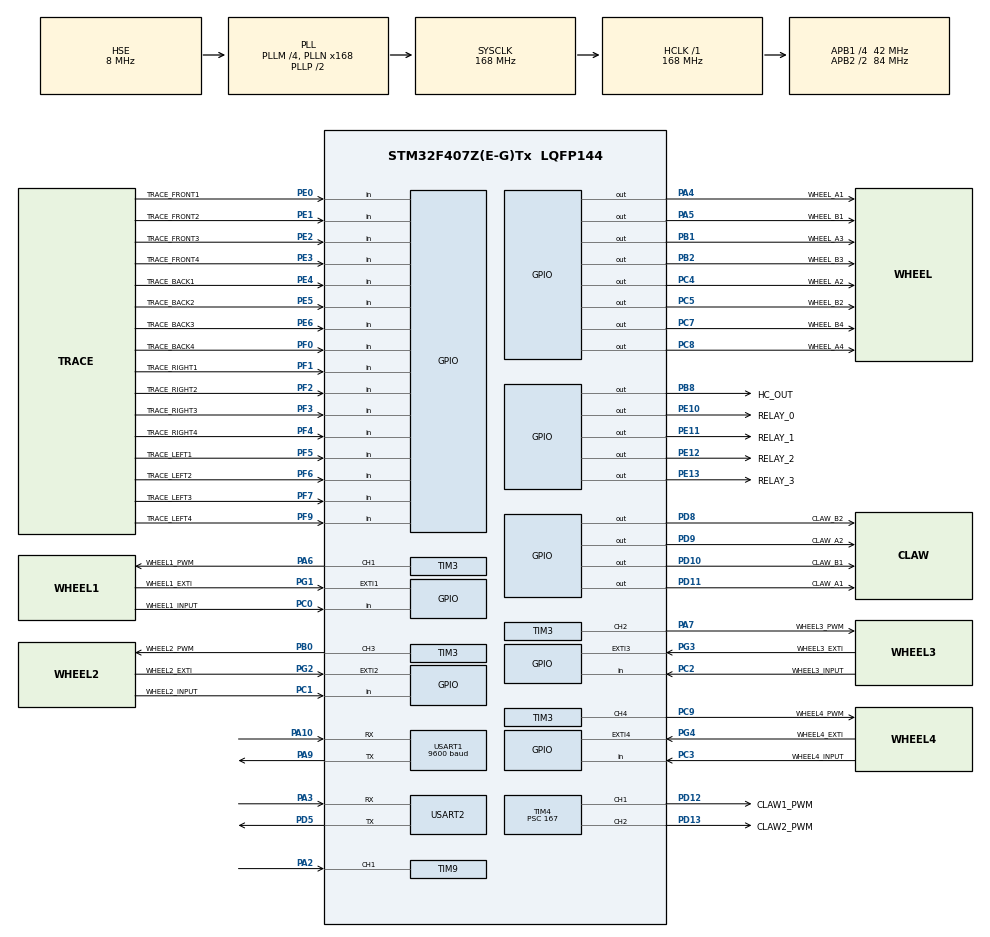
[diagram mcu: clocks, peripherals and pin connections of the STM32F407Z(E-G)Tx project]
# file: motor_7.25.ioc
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Dma.Request0=USART1_RX
Dma.Request1=USART1_TX
Dma.USART1_RX.0.Direction=DMA_PERIPH_TO_MEMORY
Dma.USART1_RX.0.FIFOMode=DMA_FIFOMODE_ENABLE
Dma.USART1_RX.0.FIFOThreshold=DMA_FIFO_THRESHOLD_FULL
Dma.USART1_RX.0.Instance=DMA2_Stream2
Dma.USART1_RX.0.MemBurst=DMA_MBURST_SINGLE
Dma.USART1_RX.0.MemDataAlignment=DMA_MDATAALIGN_BYTE
Dma.USART1_RX.0.MemInc=DMA_MINC_ENABLE
Dma.USART1_RX.0.Mode=DMA_NORMAL
Dma.USART1_RX.0.PeriphBurst=DMA_PBURST_SINGLE
Dma.USART1_RX.0.PeriphDataAlignment=DMA_PDATAALIGN_BYTE
Dma.USART1_RX.0.PeriphInc=DMA_PINC_DISABLE
Dma.USART1_RX.0.Priority=DMA_PRIORITY_LOW
Dma.USART1_TX.1.Direction=DMA_MEMORY_TO_PERIPH
Dma.USART1_TX.1.FIFOMode=DMA_FIFOMODE_ENABLE
Dma.USART1_TX.1.FIFOThreshold=DMA_FIFO_THRESHOLD_FULL
Dma.USART1_TX.1.Instance=DMA2_Stream7
Dma.USART1_TX.1.MemBurst=DMA_MBURST_SINGLE
Dma.USART1_TX.1.MemDataAlignment=DMA_MDATAALIGN_BYTE
Dma.USART1_TX.1.MemInc=DMA_MINC_ENABLE
Dma.USART1_TX.1.Mode=DMA_NORMAL
Dma.USART1_TX.1.PeriphBurst=DMA_PBURST_SINGLE
Dma.USART1_TX.1.PeriphDataAlignment=DMA_PDATAALIGN_BYTE
Dma.USART1_TX.1.PeriphInc=DMA_PINC_DISABLE
Dma.USART1_TX.1.Priority=DMA_PRIORITY_LOW
Mcu.Family=STM32F4
Mcu.Name=STM32F407Z(E-G)Tx
Mcu.Package=LQFP144
NVIC.DMA2_Stream2_IRQn=true\:0\:0\:false\:false\:true\:false\:true\:true
NVIC.DMA2_Stream7_IRQn=true\:0\:0\:false\:false\:true\:false\:true\:true
NVIC.PriorityGroup=NVIC_PRIORITYGROUP_4
NVIC.TIM1_BRK_TIM9_IRQn=true\:0\:0\:false\:false\:true\:true\:true\:true
NVIC.USART1_IRQn=true\:0\:0\:false\:false\:true\:true\:true\:true
PA10.Mode=Asynchronous
PA10.Signal=USART1_RX
PA13.Mode=Serial_Wire
PA13.Signal=SYS_JTMS-SWDIO
PA14.Mode=Serial_Wire
PA14.Signal=SYS_JTCK-SWCLK
PA2.Signal=S_TIM9_CH1
PA3.Mode=Asynchronous
PA3.Signal=USART2_RX
PA4.GPIO_Label=WHEEL_A1
PA4.Signal=GPIO_Output
PA5.GPIO_Label=WHEEL_B1
PA5.Signal=GPIO_Output
PA6.GPIO_Label=WHEEL1_PWM
PA6.Signal=S_TIM3_CH1
PA7.GPIO_Label=WHEEL3_PWM
PA7.Signal=S_TIM3_CH2
PA9.Mode=Asynchronous
PA9.Signal=USART1_TX
PB0.GPIO_Label=WHEEL2_PWM
PB0.Signal=S_TIM3_CH3
PB1.GPIO_Label=WHEEL_A3
PB1.Signal=GPIO_Output
PB2.GPIO_Label=WHEEL_B3
PB2.Signal=GPIO_Output
PB8.GPIO_Label=HC_OUT
PB8.Signal=GPIO_Output
PC0.GPIO_Label=WHEEL1_INPUT
PC0.Signal=GPIO_Input
PC1.GPIO_Label=WHEEL2_INPUT
PC1.Signal=GPIO_Input
PC2.GPIO_Label=WHEEL3_INPUT
PC2.Signal=GPIO_Input
PC3.GPIO_Label=WHEEL4_INPUT
PC3.Signal=GPIO_Input
PC4.GPIO_Label=WHEEL_A2
PC4.Signal=GPIO_Output
PC5.GPIO_Label=WHEEL_B2
PC5.Signal=GPIO_Output
PC7.GPIO_Label=WHEEL_B4
PC7.Signal=GPIO_Output
PC8.GPIO_Label=WHEEL_A4
PC8.Signal=GPIO_Output
PC9.GPIO_Label=WHEEL4_PWM
PC9.Signal=S_TIM3_CH4
PD10.GPIO_Label=CLAW_B1
PD10.Signal=GPIO_Output
PD11.GPIO_Label=CLAW_A1
PD11.Signal=GPIO_Output
PD12.GPIO_Label=CLAW1_PWM
PD12.Signal=S_TIM4_CH1
PD13.GPIO_Label=CLAW2_PWM
PD13.Signal=S_TIM4_CH2
PD5.Mode=Asynchronous
PD5.Signal=USART2_TX
PD8.GPIO_Label=CLAW_B2
PD8.Signal=GPIO_Output
PD9.GPIO_Label=CLAW_A2
PD9.Signal=GPIO_Output
PE0.GPIO_Label=TRACE_FRONT1
PE0.Signal=GPIO_Input
PE1.GPIO_Label=TRACE_FRONT2
PE1.Signal=GPIO_Input
PE10.GPIO_Label=RELAY_0
PE10.Signal=GPIO_Output
PE11.GPIO_Label=RELAY_1
PE11.Signal=GPIO_Output
PE12.GPIO_Label=RELAY_2
PE12.Signal=GPIO_Output
PE13.GPIO_Label=RELAY_3
PE13.Signal=GPIO_Output
PE2.GPIO_Label=TRACE_FRONT3
PE2.Signal=GPIO_Input
PE3.GPIO_Label=TRACE_FRONT4
PE3.Signal=GPIO_Input
PE4.GPIO_Label=TRACE_BACK1
PE4.Signal=GPIO_Input
PE5.GPIO_Label=TRACE_BACK2
PE5.Signal=GPIO_Input
PE6.GPIO_Label=TRACE_BACK3
PE6.Signal=GPIO_Input
PF0.GPIO_Label=TRACE_BACK4
PF0.Signal=GPIO_Input
PF1.GPIO_Label=TRACE_RIGHT1
PF1.Signal=GPIO_Input
PF2.GPIO_Label=TRACE_RIGHT2
PF2.Signal=GPIO_Input
PF3.GPIO_Label=TRACE_RIGHT3
PF3.Signal=GPIO_Input
PF4.GPIO_Label=TRACE_RIGHT4
PF4.Signal=GPIO_Input
PF5.GPIO_Label=TRACE_LEFT1
PF5.Signal=GPIO_Input
PF6.GPIO_Label=TRACE_LEFT2
PF6.Signal=GPIO_Input
PF7.GPIO_Label=TRACE_LEFT3
PF7.Signal=GPIO_Input
PF9.GPIO_Label=TRACE_LEFT4
PF9.Signal=GPIO_Input
PG1.GPIO_Label=WHEEL1_EXTI
PG1.Signal=GPXTI1
PG2.GPIO_Label=WHEEL2_EXTI
PG2.Signal=GPXTI2
PG3.GPIO_Label=WHEEL3_EXTI
PG3.Signal=GPXTI3
PG4.GPIO_Label=WHEEL4_EXTI
PG4.Signal=GPXTI4
PH0-OSC_IN.Mode=HSE-External-Oscillator
PH0-OSC_IN.Signal=RCC_OSC_IN
PH1-OSC_OUT.Mode=HSE-External-Oscillator
PH1-OSC_OUT.Signal=RCC_OSC_OUT
ProjectManager.HeapSize=0x200
ProjectManager.StackSize=0x400
ProjectManager.TargetToolchain=MDK-ARM V5.32
RCC.48MHZClocksFreq_Value=84000000
RCC.AHBFreq_Value=168000000
RCC.APB1CLKDivider=RCC_HCLK_DIV4
RCC.APB1Freq_Value=42000000
RCC.APB1TimFreq_Value=84000000
RCC.APB2CLKDivider=RCC_HCLK_DIV2
RCC.APB2Freq_Value=84000000
RCC.APB2TimFreq_Value=168000000
RCC.CortexFreq_Value=168000000
RCC.HCLKFreq_Value=168000000
RCC.HSE_VALUE=8000000
RCC.HSI_VALUE=16000000
RCC.LSE_VALUE=32768
RCC.PLLM=4
RCC.PLLN=168
RCC.PLLSourceVirtual=RCC_PLLSOURCE_HSE
RCC.SYSCLKFreq_VALUE=168000000
RCC.SYSCLKSource=RCC_SYSCLKSOURCE_PLLCLK
RCC.VCOOutputFreq_Value=336000000
SH.S_TIM3_CH1.0=TIM3_CH1,PWM Generation1 CH1
SH.S_TIM3_CH2.0=TIM3_CH2,PWM Generation2 CH2
SH.S_TIM3_CH3.0=TIM3_CH3,PWM Generation3 CH3
SH.S_TIM3_CH4.0=TIM3_CH4,PWM Generation4 CH4
SH.S_TIM4_CH1.0=TIM4_CH1,PWM Generation1 CH1
SH.S_TIM4_CH2.0=TIM4_CH2,PWM Generation2 CH2
SH.S_TIM9_CH1.0=TIM9_CH1,Input_Capture1_from_TI1
TIM3.Channel-PWM\ Generation1\ CH1=TIM_CHANNEL_1
TIM3.Channel-PWM\ Generation2\ CH2=TIM_CHANNEL_2
TIM3.Channel-PWM\ Generation3\ CH3=TIM_CHANNEL_3
TIM3.Channel-PWM\ Generation4\ CH4=TIM_CHANNEL_4
TIM3.Period=36257
TIM3.Prescaler=0
TIM4.Channel-PWM\ Generation1\ CH1=TIM_CHANNEL_1
TIM4.Channel-PWM\ Generation2\ CH2=TIM_CHANNEL_2
TIM4.Period=2000-1
TIM4.Prescaler=167
TIM5.Period=32767
TIM7.Period=1
TIM7.Prescaler=83
TIM9.AutoReloadPreload=TIM_AUTORELOAD_PRELOAD_ENABLE
TIM9.Channel-Input_Capture1_from_TI1=TIM_CHANNEL_1
TIM9.Prescaler=83
USART1.BaudRate=9600
USART1.VirtualMode=VM_ASYNC
USART2.VirtualMode=VM_ASYNC
VP_TIM3_VS_ClockSourceINT.Mode=Internal
VP_TIM4_VS_ClockSourceINT.Mode=Internal
VP_TIM5_VS_ClockSourceINT.Mode=Internal
VP_TIM7_VS_ClockSourceINT.Mode=Enable_Timer
VP_TIM9_VS_ClockSourceINT.Mode=Internal
board=custom

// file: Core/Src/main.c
/* USER CODE BEGIN Header */
/**
  ******************************************************************************
  * @file           : main.c
  * @brief          : Main program body
  ******************************************************************************
  * @attention
  *
  * <h2><center>&copy; Copyright (c) 2022 STMicroelectronics.
  * All rights reserved.</center></h2>
  *
  * This software component is licensed by ST under BSD 3-Clause license,
  * the "License"; You may not use this file except in compliance with the
  * License. You may obtain a copy of the License at:
  *                        opensource.org/licenses/BSD-3-Clause
  *
  ******************************************************************************
  */
/* USER CODE END Header */
#include "main.h"
#include "dma.h"
#include "tim.h"
#include "usart.h"
#include "gpio.h"

/* USER CODE BEGIN Includes */

#include "DR16.hpp"
#include "Motor.hpp"
#include "Chassis.hpp"
#include "Claw.hpp"
#include "Relay.hpp"
#include "trace.h"
/* USER CODE END Includes */

/* USER CODE BEGIN PV */
Class_Chassis Chassis;
Class_Claw Claw;
Class_Relay Relay[4]; //四个继电器
/**
 * @param Relay[0] 控制发射机构电磁阀
 * @param Relay[1] 控制真空泵
 * @param Relay[2] 控制靠前吸盘组对应电磁阀
 * @param Relay[3] 控制靠后吸盘组对应电磁阀
 */
/* USER CODE END PV */

void SystemClock_Config(void);

/* USER CODE BEGIN 0 */

//超声波测试程序定义：
uint32_t capture_Buf[2] = {0};   //存放计数值
uint8_t capture_Cnt = 0;    //状态标志位
uint32_t high_time;   //高电平时间
uint32_t Distance;
uint32_t Distance_Calculate(uint32_t count)
{
		uint32_t Distance = 0;
		Distance = (uint32_t)(((float)count / 58) * 100);
		return Distance;
}
void HCSR04_Init_Start(void)
{
	HAL_GPIO_WritePin(GPIOB,GPIO_PIN_8,GPIO_PIN_RESET);
	HAL_GPIO_WritePin(GPIOB,GPIO_PIN_8,GPIO_PIN_SET);
	delay_us(10);
	HAL_GPIO_WritePin(GPIOB,GPIO_PIN_8,GPIO_PIN_RESET);
}

/* USER CODE END 0 */

int main(void)

{
  /* USER CODE BEGIN 1 */
uint8_t trbuf[16]={2,1,1,2,184,11,0,0,0,0,0,0,0,0,3,52};
extern int colorflag;
  /* USER CODE END 1 */

  /* MCU Configuration--------------------------------------------------------*/

  /* Reset of all peripherals, Initializes the Flash interface and the Systick. */
  HAL_Init();

  /* Configure the system clock */
  SystemClock_Config();

  /* Initialize all configured peripherals */
  MX_GPIO_Init();
  MX_DMA_Init();
  MX_TIM3_Init();
  MX_TIM4_Init();
  MX_TIM5_Init();
  MX_TIM7_Init();
  MX_TIM9_Init();
  MX_USART2_UART_Init();
  MX_USART1_UART_Init();
  /* USER CODE BEGIN 2 */
  HAL_TIM_IC_Start_IT(&htim9, TIM_CHANNEL_1);

  //test_chassis:
  //底盘初始化，注意参数，详情见Chassis.cpp中的Init函数

  //, htim5);

  //Chassis.Set_Control_Method(Control_Method_OPENLOOP);

  //使能计算时钟
  //HAL_TIM_Base_Start_IT(&CHASSIS_MOTOR_CALCULATE_TIM);

  //test_motor:
  /*
  Class_Motor motor1;
  Class_Motor motor2;
  Class_Motor motor3;
  Class_Motor motor4;
  */
extern int front[5];
extern int back[5];
extern int right[5];
extern int left[5];
int num1,num2,num3;
struct SpeedTypeDef v_front={0, 10000, 0};//向前
struct SpeedTypeDef v_frontlow={0, 4000, 0};//向前
struct SpeedTypeDef v_frontlowlow={0, 3000, 0};//向前
struct SpeedTypeDef v_back={0, -10000, 0};//向后
struct SpeedTypeDef v_backlow={0, -4000, 0};//向后
struct SpeedTypeDef v_backfast={0, -30000, 0};//向后
struct SpeedTypeDef v_left={10000, 0 ,0};//向左
struct SpeedTypeDef v_leftlow={4000, 0 ,0};//向左
struct SpeedTypeDef v_leftlowlow={2000, 0, 0};//向左
struct SpeedTypeDef v_right={-10000, 0 ,0};//向右
struct SpeedTypeDef v_rightlow={-4000, 0 ,0};//向右
struct SpeedTypeDef v_rightlowlow={-2000, 0, 0};//向右
struct SpeedTypeDef v_rotate={0, 0, 10000};//正转
struct SpeedTypeDef v_crotate={0, 0, -10000};//逆转
struct SpeedTypeDef v_leftass={7000, 7000, 7000};//屁股向左
struct SpeedTypeDef v_rightass={7000, 7000, -7000};//屁股向右
struct SpeedTypeDef v_leftfront={10000, 10000, 0};//左前
struct SpeedTypeDef v_rightfront={-10000, 10000, 0};//右前
struct SpeedTypeDef v_leftback={10000, -10000, 0};//左后
struct SpeedTypeDef v_rightback={-10000, -10000, 0};//右后
struct SpeedTypeDef v_stop={0, 0 ,0};//停下
struct SpeedTypeDef v_rotatelow={0, 0, 4000};//正转
struct SpeedTypeDef v_slowfront={0, 3000, 0};//慢速向前

  struct SpeedTypeDef claw_up_rotate=  //机械臂抬升
   {
    0,0,-100
   };
     struct SpeedTypeDef claw_upup_rotate=  //机械臂抬升(快一点
   {
    0,0,-200
   };
   struct SpeedTypeDef claw_down_rotate=  //机械臂放下
   {
    0,0,50
   };
    struct SpeedTypeDef claw_downdown_rotate=  //机械臂放下(快一点
   {
    0,0,100
   };

   Chassis.Init();
   Claw.Init();
   Relay[0].Init(RELAY_0_GPIO_Port,RELAY_0_Pin);
   Relay[1].Init(RELAY_1_GPIO_Port,RELAY_1_Pin);
   Relay[2].Init(RELAY_2_GPIO_Port,RELAY_2_Pin);
   Relay[3].Init(RELAY_3_GPIO_Port,RELAY_3_Pin);
 /*test_motor:
  motor1.Init(htim3, TIM_CHANNEL_1, WHEEL_A1_Pin, WHEEL_A1_GPIO_Port, WHEEL_B1_Pin, WHEEL_B1_GPIO_Port);
  motor2.Init(htim3, TIM_CHANNEL_2, WHEEL_A2_Pin, WHEEL_A2_GPIO_Port, WHEEL_B2_Pin, WHEEL_B2_GPIO_Port);
  motor3.Init(htim3, TIM_CHANNEL_3, WHEEL_A3_Pin, WHEEL_A3_GPIO_Port, WHEEL_B3_Pin, WHEEL_B3_GPIO_Port);
  motor4.Init(htim3, TIM_CHANNEL_4, WHEEL_A4_Pin, WHEEL_A4_GPIO_Port, WHEEL_B4_Pin, WHEEL_B4_GPIO_Port);
*/

/*冰壶机器人算法逻辑框架---------------------*/
	int front_sum,back_sum,left_sum,right_sum;
    //穿越巡线区
	 HAL_Delay(10000);
   modified_trace_pre(19000);
	//到达第一个三岔路口
	while(!(front[2]==1 && front[3]==1)){
		left_track();
	}

	Chassis.Changhu_velocity(v_stop);
	HAL_Delay(1000);

	//卡到位置再扫描
  HAL_UART_Transmit_DMA(&huart1,trbuf,16);
	Chassis.Changhu_velocity(v_frontlow);
	HAL_Delay(3500);
	Chassis.Changhu_velocity(v_frontlow);
	HAL_Delay(1000);
/*  低难度第一个位置：目前在第一个三岔路口*/
	//这里要加一个判断//如果第一个是

 //如果第一个不是
	if(uart1_receive_buffer[1]=='0')
{
	//后退
	Chassis.Changhu_velocity(v_back);
	HAL_Delay(400);				//这个参数可能要改，看看十字校准的效果
	Chassis.Changhu_velocity(v_stop);

	//十字校准
	read_redsense();
	while(!(left[2]==1 && left[3]==1)){
		Chassis.Changhu_velocity(v_backlow);
		HAL_Delay(20);
		read_redsense();
	}

	Chassis.Changhu_velocity(v_left);
 	HAL_Delay(1000);
	Chassis.Changhu_velocity(v_stop);
	HAL_Delay(500);
	read_redsense();
	while(!(front[2]==1 && front[3]==1)){
		left_track();
	}
	Chassis.Changhu_velocity(v_stop);
	HAL_Delay(2500);

	Chassis.Changhu_velocity(v_frontlow);
	HAL_Delay(3500);
}

	//前进固定距离
	Chassis.Changhu_velocity(v_backlow);
	HAL_Delay(900);/////////////////////////////////////////这个地方需要调试，先卡住然后往后退

	Chassis.Changhu_velocity(v_stop);
	//放下夹子
	Claw.Changhu_velocity(claw_downdown_rotate);
	HAL_Delay(4500);///////////////////////////////////////
	Claw.Changhu_velocity(v_stop);
	//吸起来
	Relay[1].set_Relay_output_situation(1);
	Relay[3].set_Relay_output_situation(1);
	Relay[2].set_Relay_output_situation(0);  //吸起
	HAL_Delay(5000);
	//上升
	Claw.Changhu_velocity(claw_upup_rotate);
	HAL_Delay(3600);
	Claw.Changhu_velocity(v_stop);//机械臂上升
	//往后退，时间可能要调整
	Chassis.Changhu_velocity(v_back);//与向前进保持一样的距离，虽然可能重一点，在此之后十字校准
	HAL_Delay(500);
	Chassis.Changhu_velocity(v_stop);

	read_redsense();
	while(!(left[2]==1 && left[3]==1)){
		Chassis.Changhu_velocity(v_backlow);
		HAL_Delay(20);
		read_redsense();
	}

	//动两格就位
	read_redsense();
	while(!(back[2]==1 && back[3]==1)){
		left_track();
	}
	Chassis.Changhu_velocity(v_stop);
	HAL_Delay(500);

	//十字校准
//	trace_check_crossroad();

    //推出冰壶

	Claw.Changhu_velocity(claw_down_rotate);
	HAL_Delay(8000);
	Claw.Changhu_velocity(v_stop);//机械臂下降

	Relay[2].set_Relay_output_situation(1);//放下
	Relay[1].set_Relay_output_situation(0);

	Claw.Changhu_velocity(claw_up_rotate);
	HAL_Delay(3000);
	Claw.Changhu_velocity(v_stop);//机械臂上升

	Relay[0].set_Relay_output_situation(0);
	HAL_Delay(1500);//不知道在干什么

	//前进

	Chassis.Changhu_velocity(v_frontlowlow);
	HAL_Delay(4700);//////////////////////////////
	Chassis.Changhu_velocity(v_stop);
	HAL_Delay(2000);
	/*Chassis.Changhu_velocity(v_rightlow);
	HAL_Delay(150);//////////////////////////////
	Chassis.Changhu_velocity(v_stop);
	HAL_Delay(20);
	/////////////////////////////////////////////////////////////////////////////
	Chassis.Changhu_velocity(v_leftlowlow);

	HAL_Delay(290);//////////////////////////////00000000000000000000000000000000000000000000000000000000000000000000000000000000000000000

	Chassis.Changhu_velocity(v_stop);
	HAL_Delay(500);
	*/
	Relay[0].set_Relay_output_situation(1); //此时常开（开路即断路）端闭合，电磁阀两端出现电势差，气缸将冰壶推出
	HAL_Delay(1500);

	Relay[0].set_Relay_output_situation(0);//气缸收回
	HAL_Delay(1500);

	//现在推完了

	Chassis.Changhu_velocity(v_back);
	HAL_Delay(400);				//这个参数可能要改，看看十字校准的效果
	Chassis.Changhu_velocity(v_stop);

	//十字校准
	read_redsense();
	while(!(right[2]==1 && right[3]==1)){
		Chassis.Changhu_velocity(v_backlow);
		HAL_Delay(20);
		read_redsense();
	}

	Chassis.Changhu_velocity(v_left);
	HAL_Delay(300);
  read_redsense();
	while(!(back[2]==1 && back[3]==1)){
		left_track();
	}
	Chassis.Changhu_velocity(v_stop);
	HAL_Delay(1000);

	//现在开始拿第二个低难度壶
	//前进固定距离
	Chassis.Changhu_velocity(v_frontlow);
	HAL_Delay(3500);
	Chassis.Changhu_velocity(v_stop);
	HAL_Delay(2000);
	Chassis.Changhu_velocity(v_backlow);
	HAL_Delay(900);/////////////////////////////////////////这个地方需要调试，先卡住然后往后退
	Chassis.Changhu_velocity(v_stop);
	HAL_Delay(2000);
	//放下夹子
	Claw.Changhu_velocity(claw_downdown_rotate);
	HAL_Delay(4500);/////////////////////////////////////
	Claw.Changhu_velocity(v_stop);
	//吸起来
	Relay[1].set_Relay_output_situation(1);
	Relay[3].set_Relay_output_situation(1);
	Relay[2].set_Relay_output_situation(0);  //吸起
	HAL_Delay(5000);
	//上升
	Claw.Changhu_velocity(claw_upup_rotate);
	HAL_Delay(3000);
	Claw.Changhu_velocity(v_stop);//机械臂上升
	//往后退，时间可能要调整
	Chassis.Changhu_velocity(v_back);//与向前进保持一样的距离，虽然可能重一点，在此之后十字校准
	HAL_Delay(400);
	Chassis.Changhu_velocity(v_stop);

	//十字校准
	read_redsense();
	while(!(left[2]==1 && left[3]==1)){
		Chassis.Changhu_velocity(v_backlow);
		HAL_Delay(20);
		read_redsense();
	}

	Chassis.Changhu_velocity(v_left);
	HAL_Delay(300);
	//动两格就位
	Chassis.Changhu_velocity(v_stop);
	HAL_Delay(500);
	read_redsense();
	while(!(back[2]==1 && back[3]==1)){
		Chassis.Changhu_velocity(v_leftlow);
		HAL_Delay(10);
		read_redsense();
	}
	Chassis.Changhu_velocity(v_left);
	HAL_Delay(20);
	Chassis.Changhu_velocity(v_stop);
	HAL_Delay(1000);

	//十字校准
//	trace_check_crossroad();

    //推出冰壶

	Claw.Changhu_velocity(claw_down_rotate);
	HAL_Delay(8000);
	Claw.Changhu_velocity(v_stop);//机械臂下降

	Relay[2].set_Relay_output_situation(1);//放下
	Relay[1].set_Relay_output_situation(0);

	Claw.Changhu_velocity(claw_up_rotate);
	HAL_Delay(3000);
	Claw.Changhu_velocity(v_stop);//机械臂上升

	Relay[0].set_Relay_output_situation(0);
	HAL_Delay(1500);//不知道在干什么

	//前进

	Chassis.Changhu_velocity(v_frontlowlow);
	HAL_Delay(4700);
	Chassis.Changhu_velocity(v_stop);
	HAL_Delay(2000);

	/////////////////////////////////////////////////////////////////////////////////////////////////////////////////////////////////////////
	Chassis.Changhu_velocity(v_rightlowlow);
	HAL_Delay(290);//////////////////////////////
	Chassis.Changhu_velocity(v_stop);
	HAL_Delay(500);

	Relay[0].set_Relay_output_situation(1); //此时常开（开路即断路）端闭合，电磁阀两端出现电势差，气缸将冰壶推出
	HAL_Delay(1500);

	Relay[0].set_Relay_output_situation(0);//气缸收回
	HAL_Delay(1500);

	//现在第二个也推完了，定位到高难度初始位置
	Chassis.Changhu_velocity(v_back);
	HAL_Delay(800);				//这个参数可能要改，看看十字校准的效果
	Chassis.Changhu_velocity(v_stop);

	//十字校准
	read_redsense();
	while(!(left[2]==1 && left[3]==1)){
		Chassis.Changhu_velocity(v_backlow);
		HAL_Delay(20);
		read_redsense();
	}

	Chassis.Changhu_velocity(v_rotate);//旋转180度
	HAL_Delay(5200);//先旋转个大概然后再慢慢对上
	//trace_xuanzhuan();

	//十字定位
	trace_check_crossroad();
	Claw.Changhu_velocity(claw_up_rotate);
	HAL_Delay(1500);
	 HAL_UART_Transmit_DMA(&huart1,trbuf,16);
	Chassis.Changhu_velocity(v_front);
	HAL_Delay(1000);
	Chassis.Changhu_velocity(v_slowfront);
	HAL_Delay(2000);
//！！注意，这是高难度区第一次用视觉，在此判断，如果是己方的话
	if(uart1_receive_buffer[1]=='1')
{
	/*Chassis.Changhu_velocity(v_slowfront);
	HAL_Delay(8000);
	Chassis.Changhu_velocity(v_stop);						//往高难度取壶区走
	*/
	Claw.Changhu_velocity(claw_downdown_rotate);
	HAL_Delay(6000);
	Claw.Changhu_velocity(v_stop);//机械臂下降

	Relay[1].set_Relay_output_situation(1);
	Relay[2].set_Relay_output_situation(1);
	Relay[3].set_Relay_output_situation(0);  //吸起
	HAL_Delay(5000);

	Claw.Changhu_velocity(claw_upup_rotate);
	HAL_Delay(2000);
	Claw.Changhu_velocity(v_stop);//机械臂上升

	Chassis.Changhu_velocity(v_back);
	HAL_Delay(1000);
	Chassis.Changhu_velocity(v_stop);					//往后走点，这个还没测/////////////////////////////////////////////////0000000000000000000000000000000000000

	Chassis.Changhu_velocity(v_rotate);//旋转180度
	HAL_Delay(5400);
	trace_xuanzhuan();

	//十字定位
	trace_check_crossroad();

	Chassis.Changhu_velocity(v_front);
	HAL_Delay(1500);
	Chassis.Changhu_velocity(v_stop);

	Claw.Changhu_velocity(claw_down_rotate);
	HAL_Delay(7000);
	Claw.Changhu_velocity(v_stop);//机械臂下降

	Relay[3].set_Relay_output_situation(1);//放下
	Relay[1].set_Relay_output_situation(0);

	Claw.Changhu_velocity(claw_up_rotate);
	HAL_Delay(3000);
	Claw.Changhu_velocity(v_stop);//机械臂上升

	Relay[0].set_Relay_output_situation(0);
	HAL_Delay(1500);//这个地方应该是要在初始定义中写，我认为不是在这里加

	Chassis.Changhu_velocity(v_slowfront);
	HAL_Delay(200);
	Chassis.Changhu_velocity(v_stop);				//走一丢丢

	/////////////////////////////////////////////////////////////////////////////////////////////////////////////////////////////////////////
	Chassis.Changhu_velocity(v_rightlowlow);
	HAL_Delay(300);//////////////////////////////

	Relay[0].set_Relay_output_situation(1); //此时常开（开路即断路）端闭合，电磁阀两端出现电势差，气缸将冰壶推出
	HAL_Delay(1500);

	Relay[0].set_Relay_output_situation(0);//气缸收回
	HAL_Delay(1500);

//在此结束了第一个推的过程
//掉头识别第二个

	Chassis.Changhu_velocity(v_back);
	HAL_Delay(1100);				//这个参数可能要改，看看十字校准的效果
	Chassis.Changhu_velocity(v_stop);

HAL_Delay(5200);//先旋转个大概然后再慢慢对上
	trace_xuanzhuan();
	trace_check_crossroad();

}

Chassis.Changhu_velocity(v_back);
	HAL_Delay(1000);
	Chassis.Changhu_velocity(v_stop);					//往后走点，这个还没测/////////////////////////////////////////////////0000000000000000000000000000000000000

Chassis.Changhu_velocity(v_left);
	HAL_Delay(300);
  read_redsense();
	while(!(front[2]==1 && front[3]==1)){
		right_track();
	}
	Chassis.Changhu_velocity(v_stop);
	HAL_Delay(2000);

 HAL_UART_Transmit_DMA(&huart1,trbuf,16);
	Chassis.Changhu_velocity(v_front);
	HAL_Delay(1000);
	Chassis.Changhu_velocity(v_slowfront);
	HAL_Delay(2000);
//高难度第二次识别（如果判断不是己方：直接右移开始第二个推，第二个和第三个都是自己的，可以直接推）
if(uart1_receive_buffer[1]=='1')
{
	/*Chassis.Changhu_velocity(v_slowfront);
	HAL_Delay(8000);
	Chassis.Changhu_velocity(v_stop);						//往高难度取壶区走
	*/
	Claw.Changhu_velocity(claw_downdown_rotate);
	HAL_Delay(6000);
	Claw.Changhu_velocity(v_stop);//机械臂下降

	Relay[1].set_Relay_output_situation(1);
	Relay[2].set_Relay_output_situation(1);
	Relay[3].set_Relay_output_situation(0);  //吸起
	HAL_Delay(5000);

	Claw.Changhu_velocity(claw_upup_rotate);
	HAL_Delay(2000);
	Claw.Changhu_velocity(v_stop);//机械臂上升

	Chassis.Changhu_velocity(v_back);
	HAL_Delay(1000);
	Chassis.Changhu_velocity(v_stop);					//往后走点，这个还没测

	Chassis.Changhu_velocity(v_rotate);//旋转180度
	HAL_Delay(5400);//
	trace_xuanzhuan();
	//十字定位
	trace_check_crossroad();

	Chassis.Changhu_velocity(v_right);
	HAL_Delay(300);
	read_redsense();
	while(!(front[2]==1 && front[3]==1)){
		right_track();
	}
	Chassis.Changhu_velocity(v_stop);
	HAL_Delay(2000);

	Chassis.Changhu_velocity(v_front);
	HAL_Delay(1500);
	Chassis.Changhu_velocity(v_stop);

	Claw.Changhu_velocity(claw_down_rotate);
	HAL_Delay(7000);
	Claw.Changhu_velocity(v_stop);//机械臂下降

	Relay[3].set_Relay_output_situation(1);//放下
	Relay[1].set_Relay_output_situation(0);

	Claw.Changhu_velocity(claw_up_rotate);
	HAL_Delay(3000);
	Claw.Changhu_velocity(v_stop);//机械臂上升

	Relay[0].set_Relay_output_situation(0);
	HAL_Delay(1500);//这个地方应该是要在初始定义中写，我认为不是在这里加

	Chassis.Changhu_velocity(v_slowfront);
	HAL_Delay(200);
	Chassis.Changhu_velocity(v_stop);				//
	/////////////////////////////////////////////////////////////////////////////////////////////////////////////////////////////////////////
	Chassis.Changhu_velocity(v_leftlowlow);
	HAL_Delay(200);//////////////////////////////
	Relay[0].set_Relay_output_situation(1); //此时常开（开路即断路）端闭合，电磁阀两端出现电势差，气缸将冰壶推出
	HAL_Delay(1500);

	Relay[0].set_Relay_output_situation(0);//气缸收回
	HAL_Delay(1500);

	//完成第二个推壶过程，往后走到十字区
	Chassis.Changhu_velocity(v_back);
	HAL_Delay(1100);
	Chassis.Changhu_velocity(v_stop);
	trace_check_crossroad();
	Chassis.Changhu_velocity(v_rotate);//旋转180度
	HAL_Delay(5200);//先旋转个大概然后再慢慢对上
	trace_xuanzhuan();
	trace_check_crossroad();
}else {
	Chassis.Changhu_velocity(v_back);
	HAL_Delay(1000);
	Chassis.Changhu_velocity(v_stop);					//往后走点，这个还没测/////////////////////////////////////////////////0000000000000000000000000000000000000

  Chassis.Changhu_velocity(v_right);
	HAL_Delay(300);
	read_redsense();
	while(!(front[2]==1 && front[3]==1)){
		right_track();
	}
	Chassis.Changhu_velocity(v_stop);
	HAL_Delay(2000);
}
HAL_UART_Transmit_DMA(&huart1,trbuf,16);
Chassis.Changhu_velocity(v_front);
	HAL_Delay(1000);
	Chassis.Changhu_velocity(v_slowfront);
	HAL_Delay(2000);
if(uart1_receive_buffer[1]=='1'){
	/*Chassis.Changhu_velocity(v_slowfront);
	HAL_Delay(8000);
	Chassis.Changhu_velocity(v_stop);						//往高难度取壶区走
	*/
	Claw.Changhu_velocity(claw_downdown_rotate);
	HAL_Delay(6000);
	Claw.Changhu_velocity(v_stop);//机械臂下降

	Relay[1].set_Relay_output_situation(1);
	Relay[2].set_Relay_output_situation(1);
	Relay[3].set_Relay_output_situation(0);  //吸起
	HAL_Delay(5000);

	Claw.Changhu_velocity(claw_upup_rotate);
	HAL_Delay(2000);
	Claw.Changhu_velocity(v_stop);//机械臂上升

	Chassis.Changhu_velocity(v_back);
	HAL_Delay(1000);
	Chassis.Changhu_velocity(v_stop);					//往后走点，这个还没测

	Chassis.Changhu_velocity(v_rotate);//旋转180度
	HAL_Delay(5400);
	trace_xuanzhuan();

	//十字定位
	trace_check_crossroad();

	Chassis.Changhu_velocity(v_front);
	HAL_Delay(1500);
	Chassis.Changhu_velocity(v_stop);

	Claw.Changhu_velocity(claw_down_rotate);
	HAL_Delay(7000);
	Claw.Changhu_velocity(v_stop);//机械臂下降

	Relay[3].set_Relay_output_situation(1);//放下
	Relay[1].set_Relay_output_situation(0);

	Claw.Changhu_velocity(claw_up_rotate);
	HAL_Delay(3000);
	Claw.Changhu_velocity(v_stop);//机械臂上升

	Relay[0].set_Relay_output_situation(0);
	HAL_Delay(1500);//这个地方应该是要在初始定义中写，我认为不是在这里加

	Chassis.Changhu_velocity(v_slowfront);
	HAL_Delay(200);
	Chassis.Changhu_velocity(v_stop);				//走一丢丢

	Relay[0].set_Relay_output_situation(1); //此时常开（开路即断路）端闭合，电磁阀两端出现电势差，气缸将冰壶推出
	HAL_Delay(1500);

	Relay[0].set_Relay_output_situation(0);//气缸收回
	HAL_Delay(1500);
}

  /*机器人运动结束--------------------------*/

  /* USER CODE END 2 */

  /* Infinite loop */
  /* USER CODE BEGIN WHILE */
  /*while(1){

*/

    /* USER CODE END WHILE */

}

void SystemClock_Config(void)
{
  RCC_OscInitTypeDef RCC_OscInitStruct = {0};
  RCC_ClkInitTypeDef RCC_ClkInitStruct = {0};

  /** Configure the main internal regulator output voltage
  */
  __HAL_RCC_PWR_CLK_ENABLE();
  __HAL_PWR_VOLTAGESCALING_CONFIG(PWR_REGULATOR_VOLTAGE_SCALE1);

  /** Initializes the RCC Oscillators according to the specified parameters
  * in the RCC_OscInitTypeDef structure.
  */
  RCC_OscInitStruct.OscillatorType = RCC_OSCILLATORTYPE_HSE;
  RCC_OscInitStruct.HSEState = RCC_HSE_ON;
  RCC_OscInitStruct.PLL.PLLState = RCC_PLL_ON;
  RCC_OscInitStruct.PLL.PLLSource = RCC_PLLSOURCE_HSE;
  RCC_OscInitStruct.PLL.PLLM = 4;
  RCC_OscInitStruct.PLL.PLLN = 168;
  RCC_OscInitStruct.PLL.PLLP = RCC_PLLP_DIV2;
  RCC_OscInitStruct.PLL.PLLQ = 4;
  if (HAL_RCC_OscConfig(&RCC_OscInitStruct) != HAL_OK)
  {
    Error_Handler();
  }

  /** Initializes the CPU, AHB and APB buses clocks
  */
  RCC_ClkInitStruct.ClockType = RCC_CLOCKTYPE_HCLK|RCC_CLOCKTYPE_SYSCLK
                              |RCC_CLOCKTYPE_PCLK1|RCC_CLOCKTYPE_PCLK2;
  RCC_ClkInitStruct.SYSCLKSource = RCC_SYSCLKSOURCE_PLLCLK;
  RCC_ClkInitStruct.AHBCLKDivider = RCC_SYSCLK_DIV1;
  RCC_ClkInitStruct.APB1CLKDivider = RCC_HCLK_DIV4;
  RCC_ClkInitStruct.APB2CLKDivider = RCC_HCLK_DIV2;

  if (HAL_RCC_ClockConfig(&RCC_ClkInitStruct, FLASH_LATENCY_5) != HAL_OK)
  {
    Error_Handler();
  }
}

/* USER CODE BEGIN 4 */
void HAL_TIM_IC_CaptureCallback(TIM_HandleTypeDef *htim)
{

	if(TIM9 == htim->Instance)
	{
		switch(capture_Cnt){
			case 1:
				capture_Buf[0] = HAL_TIM_ReadCapturedValue(&htim9,TIM_CHANNEL_1);//获取当前的捕获值.
				__HAL_TIM_SET_CAPTUREPOLARITY(&htim9,TIM_CHANNEL_1,TIM_ICPOLARITY_FALLING);  //设置为下降沿捕获
				capture_Cnt++;
				break;
			case 2:
				capture_Buf[1] = HAL_TIM_ReadCapturedValue(&htim9,TIM_CHANNEL_1);//获取当前的捕获值.
				HAL_TIM_IC_Stop_IT(&htim9,TIM_CHANNEL_1); //停止捕获   或者: __HAL_TIM_DISABLE(&htim9);
				capture_Cnt++;
		}

	}

}

/* USER CODE END 4 */

void Error_Handler(void)
{
  __disable_irq();
  while (1)
  {
  }
}
